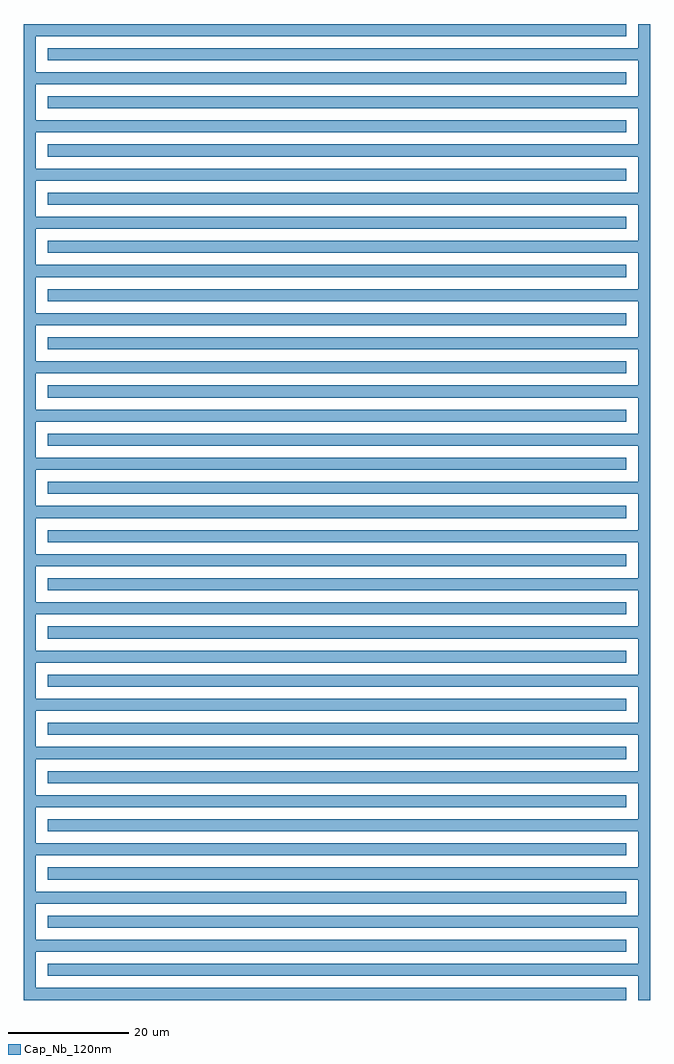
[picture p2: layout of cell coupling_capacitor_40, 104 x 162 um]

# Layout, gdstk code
import gdstk
lib = gdstk.Library(unit=1e-6, precision=1e-09)
def R(c, l, rs):  # rectangles x0, y0, x1, y1
    for r in rs: c.add(gdstk.rectangle(r[:2], r[2:], *l))
def A(c, l, x, y, w, h, nx, ny, dx, dy):  # array of equal rectangles
    R(c, l, [(x+i*dx, y+j*dy, x+i*dx+w, y+j*dy+h) for i in range(nx) for j in range(ny)])
Cap_Nb_120nm = (6, 0)

coupling_capacitor_40 = lib.new_cell('coupling_capacitor_40')
A(coupling_capacitor_40, Cap_Nb_120nm, -50, -81, 98, 2, 1, 21, 0, 8)
A(coupling_capacitor_40, Cap_Nb_120nm, -48, -77, 98, 2, 1, 20, 0, 8)
R(coupling_capacitor_40, Cap_Nb_120nm, [(-52,-81,-50,81), (50,-81,52,81)])

lib.write_gds('coupling_capacitor_40.gds')
